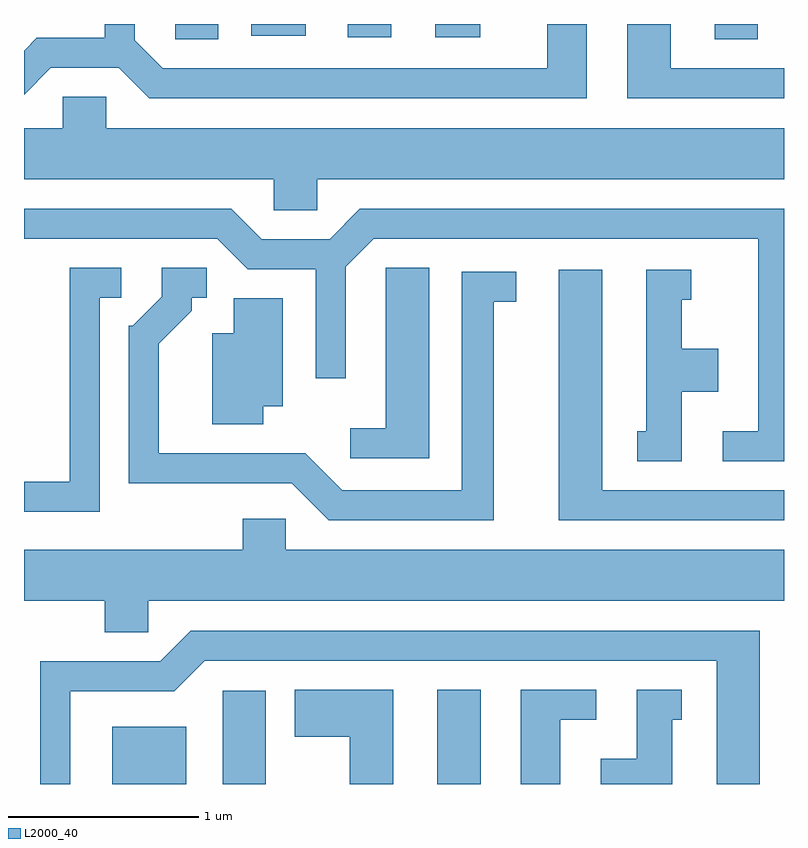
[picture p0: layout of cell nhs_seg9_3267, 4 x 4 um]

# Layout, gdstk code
import gdstk
lib = gdstk.Library(unit=1e-6, precision=1e-09)
def R(c, l, rs):  # rectangles x0, y0, x1, y1
    for r in rs: c.add(gdstk.rectangle(r[:2], r[2:], *l))
def P(c, l, *ps):  # polygons
    for p in ps: c.add(gdstk.Polygon(p, *l))
L2000_40 = (2000, 40)

nhs_seg9_3267 = lib.new_cell('nhs_seg9_3267')
R(nhs_seg9_3267, L2000_40, [(282.076,1966.432,282.464,1966.734), (282.656,1966.432,282.884,1966.924), (283.786,1966.432,284.014,1966.929), (282.406,1970.351,282.634,1970.432), (285.246,1970.351,285.474,1970.432), (283.316,1970.361,283.544,1970.432), (283.776,1970.361,284.013,1970.432), (282.806,1970.371,283.093,1970.432)])
P(nhs_seg9_3267, L2000_40, [(285.611,1970.199),(285.014,1970.199),(285.014,1970.432),(284.786,1970.432),(284.786,1970.041),(285.611,1970.041)],
  [(284.574,1970.432),(284.366,1970.432),(284.366,1970.199),(282.342,1970.199),(282.194,1970.347),(282.194,1970.432),(282.036,1970.432),(282.036,1970.359),(281.679,1970.359),(281.611,1970.291),(281.611,1970.06),(281.752,1970.201),(282.109,1970.201),(282.269,1970.041),(284.574,1970.041)],
  [(283.154,1969.616),(285.611,1969.616),(285.611,1969.884),(282.044,1969.884),(282.044,1970.049),(281.816,1970.049),(281.816,1969.884),(281.611,1969.884),(281.611,1969.616),(282.926,1969.616),(282.926,1969.451),(283.154,1969.451)],
  [(285.611,1969.459),(283.379,1969.459),(283.219,1969.299),(282.862,1969.299),(282.702,1969.459),(281.611,1969.459),(281.611,1969.301),(282.629,1969.301),(282.789,1969.141),(283.146,1969.141),(283.146,1968.568),(283.304,1968.568),(283.304,1969.154),(283.452,1969.301),(285.476,1969.301),(285.476,1968.289),(285.288,1968.289),(285.288,1968.131),(285.611,1968.131)],
  [(283.744,1969.149),(283.516,1969.149),(283.516,1968.304),(283.328,1968.304),(283.328,1968.146),(283.744,1968.146)],
  [(284.084,1968.971),(284.203,1968.971),(284.203,1969.129),(283.916,1969.129),(283.916,1967.979),(283.287,1967.979),(283.092,1968.174),(282.319,1968.174),(282.319,1968.749),(282.494,1968.924),(282.494,1968.991),(282.573,1968.991),(282.573,1969.149),(282.336,1969.149),(282.336,1968.997),(282.184,1968.844),(282.161,1968.844),(282.161,1968.016),(283.019,1968.016),(283.214,1967.821),(284.084,1967.821)],
  [(282.009,1968.991),(282.123,1968.991),(282.123,1969.149),(281.851,1969.149),(281.851,1968.024),(281.611,1968.024),(281.611,1967.866),(282.009,1967.866)],
  [(285.074,1968.496),(285.264,1968.496),(285.264,1968.724),(285.074,1968.724),(285.074,1968.981),(285.123,1968.981),(285.123,1969.139),(284.886,1969.139),(284.886,1968.289),(284.838,1968.289),(284.838,1968.131),(285.074,1968.131)],
  [(285.611,1967.979),(284.654,1967.979),(284.654,1969.139),(284.426,1969.139),(284.426,1967.821),(285.611,1967.821)],
  [(282.869,1968.421),(282.974,1968.421),(282.974,1968.989),(282.716,1968.989),(282.716,1968.804),(282.601,1968.804),(282.601,1968.326),(282.869,1968.326)],
  [(282.264,1967.396),(285.611,1967.396),(285.611,1967.664),(282.989,1967.664),(282.989,1967.829),(282.761,1967.829),(282.761,1967.664),(281.611,1967.664),(281.611,1967.396),(282.036,1967.396),(282.036,1967.231),(282.264,1967.231)],
  [(281.854,1966.921),(282.402,1966.921),(282.562,1967.081),(285.256,1967.081),(285.256,1966.432),(285.484,1966.432),(285.484,1967.239),(282.489,1967.239),(282.329,1967.079),(281.696,1967.079),(281.696,1966.432),(281.854,1966.432)],
  [(283.554,1966.929),(283.036,1966.929),(283.036,1966.681),(283.326,1966.681),(283.326,1966.432),(283.554,1966.432)],
  [(285.024,1966.771),(285.073,1966.771),(285.073,1966.929),(284.836,1966.929),(284.836,1966.564),(284.646,1966.564),(284.646,1966.432),(285.024,1966.432)],
  [(284.434,1966.771),(284.623,1966.771),(284.623,1966.929),(284.226,1966.929),(284.226,1966.432),(284.434,1966.432)])

lib.write_gds('nhs_seg9_3267.gds')
